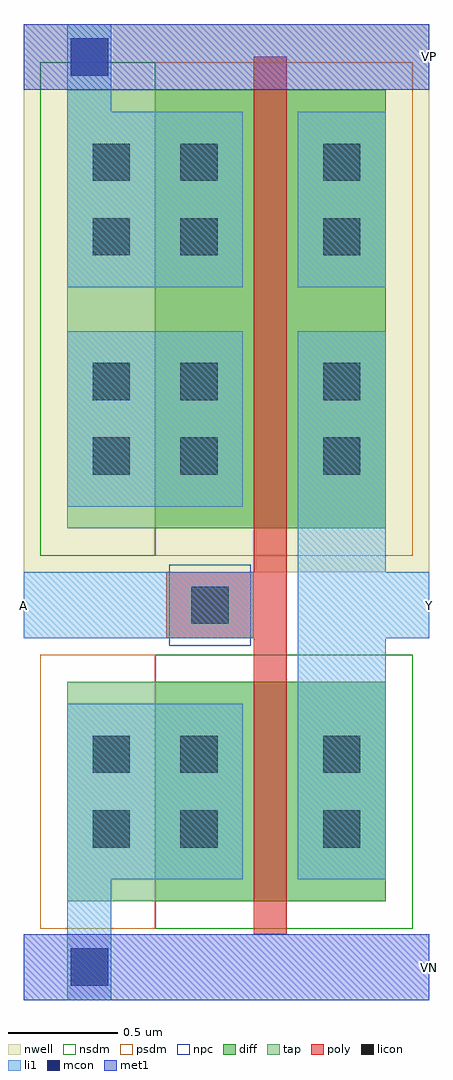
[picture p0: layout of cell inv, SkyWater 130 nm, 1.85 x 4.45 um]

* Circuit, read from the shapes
.subckt inv A VN VP Y
XM1 Y A VN VN sky130_fd_pr__nfet_01v8 w=1 l=0.15
XM2 Y A VP VP sky130_fd_pr__pfet_01v8 w=2 l=0.15
.ends

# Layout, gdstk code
import gdstk
lib = gdstk.Library(unit=1e-6, precision=1e-09)
def R(c, l, rs):  # rectangles x0, y0, x1, y1
    for r in rs: c.add(gdstk.rectangle(r[:2], r[2:], *l))
def P(c, l, *ps):  # polygons
    for p in ps: c.add(gdstk.Polygon(p, *l))
nwell = (64, 20)
diff = (65, 20)
tap = (65, 44)
poly = (66, 20)
licon = (66, 44)
li1 = (67, 20)
mcon = (67, 44)
met1 = (68, 20)
nsdm = (93, 44)
psdm = (94, 20)
npc = (95, 20)

inv = lib.new_cell('inv')
R(inv, nwell, [(-1.05,1.8,0.8,4.3)])
R(inv, diff, [(-0.45,0.3,0.6,1.3), (-0.45,2,0.6,4)])
R(inv, tap, [(-0.85,0.3,-0.45,1.3), (-0.85,2,-0.45,4)])
R(inv, poly, [(0,0.15,0.15,1.5), (-0.4,1.5,0.15,1.8), (0,1.8,0.15,4.15)])
R(inv, licon, [(-0.735,0.545,-0.565,0.715), (-0.335,0.545,-0.165,0.715), (0.315,0.545,0.485,0.715), (-0.735,0.885,-0.565,1.055), (-0.335,0.885,-0.165,1.055), (0.315,0.885,0.485,1.055), (-0.285,1.565,-0.115,1.735), (-0.735,2.245,-0.565,2.415), (-0.335,2.245,-0.165,2.415), (0.315,2.245,0.485,2.415), (-0.735,2.585,-0.565,2.755), (-0.335,2.585,-0.165,2.755), (0.315,2.585,0.485,2.755), (-0.735,3.245,-0.565,3.415), (-0.335,3.245,-0.165,3.415), (0.315,3.245,0.485,3.415), (-0.735,3.585,-0.565,3.755), (-0.335,3.585,-0.165,3.755), (0.315,3.585,0.485,3.755)])
R(inv, li1, [(-1.05,1.5,0,1.8), (-0.85,2.1,-0.05,2.9), (0.2,3.1,0.6,3.9)])
P(inv, li1, [(-0.85,3.1),(-0.85,4.3),(-0.65,4.3),(-0.65,3.9),(-0.05,3.9),(-0.05,3.1)],
  [(0.2,0.4),(0.2,2.9),(0.6,2.9),(0.6,1.8),(0.8,1.8),(0.8,1.5),(0.6,1.5),(0.6,0.4)],
  [(-0.85,-0.15),(-0.85,1.2),(-0.05,1.2),(-0.05,0.4),(-0.65,0.4),(-0.65,-0.15)])
R(inv, mcon, [(-0.835,-0.085,-0.665,0.085), (-0.835,4.065,-0.665,4.235)])
R(inv, met1, [(-1.05,-0.15,0.8,0.15), (-1.05,4,0.8,4.3)])
R(inv, nsdm, [(-0.45,0.175,0.725,1.425), (-0.975,1.875,-0.45,4.125)])
R(inv, psdm, [(-0.975,0.175,-0.45,1.425), (-0.45,1.875,0.725,4.125)])
R(inv, npc, [(-0.385,1.465,-0.015,1.835)])
inv.add(gdstk.Label('A', (-1.05,1.65), layer=67, texttype=5))
inv.add(gdstk.Label('Y', (0.8,1.65), layer=67, texttype=5))
inv.add(gdstk.Label('VP', (0.8,4.15), layer=68, texttype=5))
inv.add(gdstk.Label('VN', (0.8,0), layer=68, texttype=5))

lib.write_gds('inv.gds')
